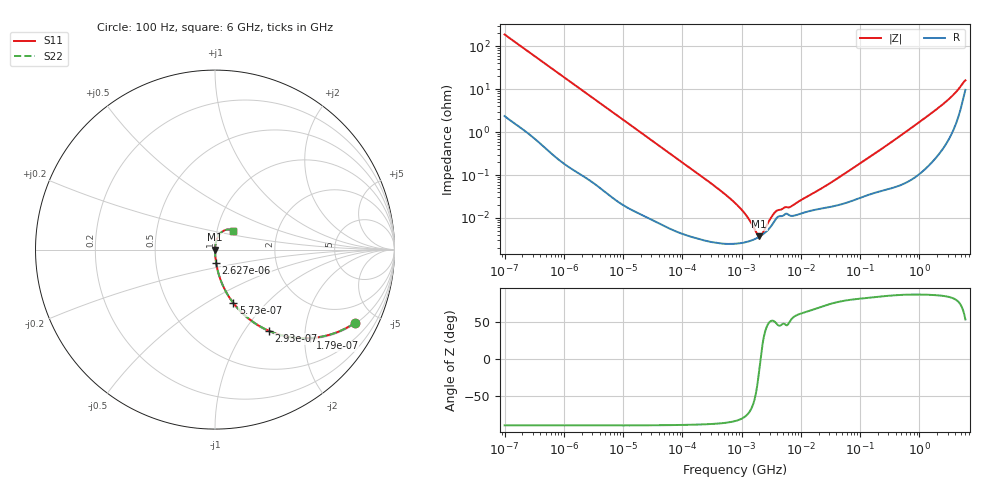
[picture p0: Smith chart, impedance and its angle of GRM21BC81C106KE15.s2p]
!Murata Part Number: GRM21BC81C106KE15
!These Parameters are Measured in Series Mode Connection
!Data Generated on Mar 30, 2021
!  o--ll--o
!Port1  Port2
!  o------o
!Operation Temp=25[degC], DC Bias Voltage=0[V]
!Freq. Start=100[Hz] Stop=6[GHz] 401[Steps]
# Hz S RI R 50
!Freq.(Hz) S11(Real) S11(Imag) S21(Real) S21(Imag) S12(Real) S12(Imag) S22(Real) S22(Imag)
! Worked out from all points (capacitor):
!   401 points, 100 Hz to 6 GHz, reference 50 ohm
!   read as one part in series: C = 8.4 uF near 109 Hz
!   lowest |Z| = 3.77 mohm at 1.983 MHz (marker M1)
!   series resonance near 2.091 MHz, so ESL is about 690 pH
!   S11 on the Smith chart (normalised r, x): 100 Hz: 1.05, -3.78; 179 Hz: 1.03, -2.12; 293 Hz: 1.02, -1.30; 573 Hz: 1.01, -0.67; 2.627 kHz: 1.00, -0.15; 6 GHz: 1.19, +0.26
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100  0.7782 -0.4092  0.2218 0.4092  0.2218 0.4092  0.7782 -0.4092
179  0.5288 -0.493  0.4712 0.493  0.4712 0.493  0.5288 -0.493
293  0.2996 -0.4521  0.7004 0.4521  0.7004 0.4521  0.2996 -0.4521
573  0.1029 -0.2986  0.8971 0.2986  0.8971 0.2986  0.1029 -0.2986
981  0.0386 -0.1878  0.9614 0.1878  0.9614 0.1878  0.0386 -0.1878
2008  0.0101 -0.0949  0.9899 0.0949  0.9899 0.0949  0.0101 -0.0949
2627  0.00614 -0.073  0.9939 0.073  0.9939 0.073  0.00614 -0.073
7695  0.000892 -0.0252  0.9991 0.0252  0.9991 0.0252  0.000892 -0.0252
40335  9.86e-05 -0.00487  0.9999 0.00487  0.9999 0.00487  9.86e-05 -0.00487
316350  2.77e-05 -0.000616  1 0.000616  1 0.000616  2.77e-05 -0.000616
774597  2.51e-05 -0.000223  1 0.000223  1 0.000223  2.51e-05 -0.000223
1325623  2.85e-05 -9e-05  1 9e-05  1 9e-05  2.85e-05 -9e-05
1983483  3.63e-05 -1.01e-05  1 1.01e-05  1 1.01e-05  3.63e-05 -1.01e-05
2967816  5.78e-05 6.77e-05  0.9999 -6.77e-05  0.9999 -6.77e-05  5.78e-05 6.77e-05
4060267  0.000105 0.000108  0.9999 -0.000108  0.9999 -0.000108  0.000105 0.000108
6948629  0.000111 0.00015  0.9999 -0.00015  0.9999 -0.00015  0.000111 0.00015
1.555665e7  0.00015 0.000334  0.9999 -0.000334  0.9999 -0.000334  0.00015 0.000334
3.80911e7  0.000192 0.000748  0.9998 -0.000748  0.9998 -0.000748  0.000192 0.000748
3.124326e8  0.000506 0.0054  0.9995 -0.0054  0.9995 -0.0054  0.000506 0.0054
2.34314e9  0.00528 0.041  0.9947 -0.041  0.9947 -0.041  0.00528 0.041
4.193612e9  0.0229 0.0822  0.9771 -0.0822  0.9771 -0.0822  0.0229 0.0822
6e9  0.1005 0.1055  0.8995 -0.1055  0.8995 -0.1055  0.1005 0.1055
